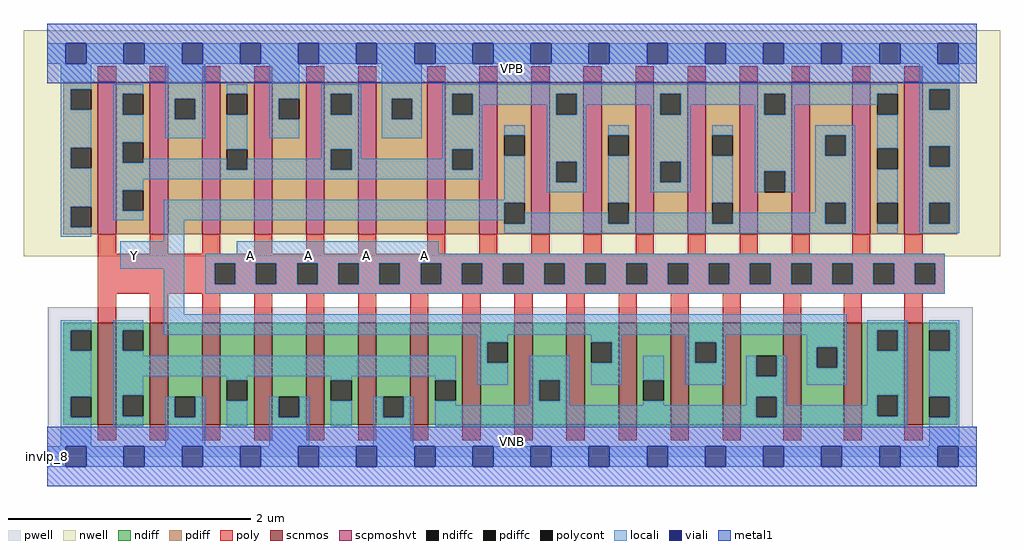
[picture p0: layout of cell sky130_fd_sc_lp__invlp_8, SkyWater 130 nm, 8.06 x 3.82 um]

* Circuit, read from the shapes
.subckt sky130_fd_sc_lp__invlp_8 A VGND VNB VPB VPWR Y
XM1 n1 A VGND VNB sky130_fd_pr__nfet_01v8 w=0.84 l=0.15 m=8
XM2 Y A n1 VNB sky130_fd_pr__nfet_01v8 w=0.84 l=0.15 m=8
XM3 n2 A VPWR VPB sky130_fd_pr__pfet_01v8_hvt w=1.26 l=0.15 m=8
XM4 Y A n2 VPB sky130_fd_pr__pfet_01v8_hvt w=1.26 l=0.15 m=8
.ends

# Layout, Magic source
magic
tech sky130A
magscale 1 2
<< nwell >>
rect -38 331 1574 704
<< pwell >>
rect 1 49 1529 247
rect 0 0 1536 49
<< scnmos >>
rect 84 53 114 221
rect 170 53 200 221
rect 256 53 286 221
rect 342 53 372 221
rect 428 53 458 221
rect 514 53 544 221
rect 600 53 630 221
rect 686 53 716 221
rect 772 53 802 221
rect 858 53 888 221
rect 944 53 974 221
rect 1030 53 1060 221
rect 1116 53 1146 221
rect 1216 53 1246 221
rect 1316 53 1346 221
rect 1416 53 1446 221
<< scpmoshvt >>
rect 84 367 114 619
rect 170 367 200 619
rect 256 367 286 619
rect 342 367 372 619
rect 428 367 458 619
rect 514 367 544 619
rect 628 367 658 619
rect 714 367 744 619
rect 800 367 830 619
rect 886 367 916 619
rect 972 367 1002 619
rect 1058 367 1088 619
rect 1144 367 1174 619
rect 1230 367 1260 619
rect 1330 367 1360 619
rect 1416 367 1446 619
<< ndiff >>
rect 27 209 84 221
rect 27 175 39 209
rect 73 175 84 209
rect 27 99 84 175
rect 27 65 39 99
rect 73 65 84 99
rect 27 53 84 65
rect 114 209 170 221
rect 114 175 125 209
rect 159 175 170 209
rect 114 101 170 175
rect 114 67 125 101
rect 159 67 170 101
rect 114 53 170 67
rect 200 99 256 221
rect 200 65 211 99
rect 245 65 256 99
rect 200 53 256 65
rect 286 126 342 221
rect 286 92 297 126
rect 331 92 342 126
rect 286 53 342 92
rect 372 99 428 221
rect 372 65 383 99
rect 417 65 428 99
rect 372 53 428 65
rect 458 126 514 221
rect 458 92 469 126
rect 503 92 514 126
rect 458 53 514 92
rect 544 99 600 221
rect 544 65 555 99
rect 589 65 600 99
rect 544 53 600 65
rect 630 126 686 221
rect 630 92 641 126
rect 675 92 686 126
rect 630 53 686 92
rect 716 189 772 221
rect 716 155 727 189
rect 761 155 772 189
rect 716 53 772 155
rect 802 126 858 221
rect 802 92 813 126
rect 847 92 858 126
rect 802 53 858 92
rect 888 189 944 221
rect 888 155 899 189
rect 933 155 944 189
rect 888 53 944 155
rect 974 126 1030 221
rect 974 92 985 126
rect 1019 92 1030 126
rect 974 53 1030 92
rect 1060 189 1116 221
rect 1060 155 1071 189
rect 1105 155 1116 189
rect 1060 53 1116 155
rect 1146 167 1216 221
rect 1146 133 1171 167
rect 1205 133 1216 167
rect 1146 99 1216 133
rect 1146 65 1171 99
rect 1205 65 1216 99
rect 1146 53 1216 65
rect 1246 181 1316 221
rect 1246 147 1271 181
rect 1305 147 1316 181
rect 1246 53 1316 147
rect 1346 209 1416 221
rect 1346 175 1371 209
rect 1405 175 1416 209
rect 1346 101 1416 175
rect 1346 67 1371 101
rect 1405 67 1416 101
rect 1346 53 1416 67
rect 1446 209 1503 221
rect 1446 175 1457 209
rect 1491 175 1503 209
rect 1446 99 1503 175
rect 1446 65 1457 99
rect 1491 65 1503 99
rect 1446 53 1503 65
<< pdiff >>
rect 27 607 84 619
rect 27 573 39 607
rect 73 573 84 607
rect 27 510 84 573
rect 27 476 39 510
rect 73 476 84 510
rect 27 413 84 476
rect 27 379 39 413
rect 73 379 84 413
rect 27 367 84 379
rect 114 599 170 619
rect 114 565 125 599
rect 159 565 170 599
rect 114 519 170 565
rect 114 485 125 519
rect 159 485 170 519
rect 114 440 170 485
rect 114 406 125 440
rect 159 406 170 440
rect 114 367 170 406
rect 200 591 256 619
rect 200 557 211 591
rect 245 557 256 591
rect 200 367 256 557
rect 286 599 342 619
rect 286 565 297 599
rect 331 565 342 599
rect 286 508 342 565
rect 286 474 297 508
rect 331 474 342 508
rect 286 367 342 474
rect 372 591 428 619
rect 372 557 383 591
rect 417 557 428 591
rect 372 367 428 557
rect 458 599 514 619
rect 458 565 469 599
rect 503 565 514 599
rect 458 508 514 565
rect 458 474 469 508
rect 503 474 514 508
rect 458 367 514 474
rect 544 591 628 619
rect 544 557 569 591
rect 603 557 628 591
rect 544 367 628 557
rect 658 599 714 619
rect 658 565 669 599
rect 703 565 714 599
rect 658 508 714 565
rect 658 474 669 508
rect 703 474 714 508
rect 658 367 714 474
rect 744 531 800 619
rect 744 497 755 531
rect 789 497 800 531
rect 744 419 800 497
rect 744 385 755 419
rect 789 385 800 419
rect 744 367 800 385
rect 830 599 886 619
rect 830 565 841 599
rect 875 565 886 599
rect 830 487 886 565
rect 830 453 841 487
rect 875 453 886 487
rect 830 367 886 453
rect 916 531 972 619
rect 916 497 927 531
rect 961 497 972 531
rect 916 419 972 497
rect 916 385 927 419
rect 961 385 972 419
rect 916 367 972 385
rect 1002 599 1058 619
rect 1002 565 1013 599
rect 1047 565 1058 599
rect 1002 487 1058 565
rect 1002 453 1013 487
rect 1047 453 1058 487
rect 1002 367 1058 453
rect 1088 531 1144 619
rect 1088 497 1099 531
rect 1133 497 1144 531
rect 1088 419 1144 497
rect 1088 385 1099 419
rect 1133 385 1144 419
rect 1088 367 1144 385
rect 1174 599 1230 619
rect 1174 565 1185 599
rect 1219 565 1230 599
rect 1174 471 1230 565
rect 1174 437 1185 471
rect 1219 437 1230 471
rect 1174 367 1230 437
rect 1260 531 1330 619
rect 1260 497 1285 531
rect 1319 497 1330 531
rect 1260 419 1330 497
rect 1260 385 1285 419
rect 1319 385 1330 419
rect 1260 367 1330 385
rect 1360 599 1416 619
rect 1360 565 1371 599
rect 1405 565 1416 599
rect 1360 509 1416 565
rect 1360 475 1371 509
rect 1405 475 1416 509
rect 1360 419 1416 475
rect 1360 385 1371 419
rect 1405 385 1416 419
rect 1360 367 1416 385
rect 1446 607 1503 619
rect 1446 573 1457 607
rect 1491 573 1503 607
rect 1446 513 1503 573
rect 1446 479 1457 513
rect 1491 479 1503 513
rect 1446 419 1503 479
rect 1446 385 1457 419
rect 1491 385 1503 419
rect 1446 367 1503 385
<< ndiffc >>
rect 39 175 73 209
rect 39 65 73 99
rect 125 175 159 209
rect 125 67 159 101
rect 211 65 245 99
rect 297 92 331 126
rect 383 65 417 99
rect 469 92 503 126
rect 555 65 589 99
rect 641 92 675 126
rect 727 155 761 189
rect 813 92 847 126
rect 899 155 933 189
rect 985 92 1019 126
rect 1071 155 1105 189
rect 1171 133 1205 167
rect 1171 65 1205 99
rect 1271 147 1305 181
rect 1371 175 1405 209
rect 1371 67 1405 101
rect 1457 175 1491 209
rect 1457 65 1491 99
<< pdiffc >>
rect 39 573 73 607
rect 39 476 73 510
rect 39 379 73 413
rect 125 565 159 599
rect 125 485 159 519
rect 125 406 159 440
rect 211 557 245 591
rect 297 565 331 599
rect 297 474 331 508
rect 383 557 417 591
rect 469 565 503 599
rect 469 474 503 508
rect 569 557 603 591
rect 669 565 703 599
rect 669 474 703 508
rect 755 497 789 531
rect 755 385 789 419
rect 841 565 875 599
rect 841 453 875 487
rect 927 497 961 531
rect 927 385 961 419
rect 1013 565 1047 599
rect 1013 453 1047 487
rect 1099 497 1133 531
rect 1099 385 1133 419
rect 1185 565 1219 599
rect 1185 437 1219 471
rect 1285 497 1319 531
rect 1285 385 1319 419
rect 1371 565 1405 599
rect 1371 475 1405 509
rect 1371 385 1405 419
rect 1457 573 1491 607
rect 1457 479 1491 513
rect 1457 385 1491 419
<< poly >>
rect 84 619 114 645
rect 170 619 200 645
rect 256 619 286 645
rect 342 619 372 645
rect 428 619 458 645
rect 514 619 544 645
rect 628 619 658 645
rect 714 619 744 645
rect 800 619 830 645
rect 886 619 916 645
rect 972 619 1002 645
rect 1058 619 1088 645
rect 1144 619 1174 645
rect 1230 619 1260 645
rect 1330 619 1360 645
rect 1416 619 1446 645
rect 84 335 114 367
rect 170 335 200 367
rect 256 335 286 367
rect 342 335 372 367
rect 428 335 458 367
rect 514 335 544 367
rect 628 335 658 367
rect 714 335 744 367
rect 800 335 830 367
rect 886 335 916 367
rect 972 335 1002 367
rect 1058 335 1088 367
rect 1144 335 1174 367
rect 1230 335 1260 367
rect 1330 335 1360 367
rect 1416 335 1446 367
rect 84 319 1483 335
rect 84 285 277 319
rect 311 285 345 319
rect 379 285 413 319
rect 447 285 481 319
rect 515 285 549 319
rect 583 285 617 319
rect 651 285 685 319
rect 719 285 753 319
rect 787 285 821 319
rect 855 285 889 319
rect 923 285 957 319
rect 991 285 1025 319
rect 1059 285 1093 319
rect 1127 285 1161 319
rect 1195 285 1229 319
rect 1263 285 1297 319
rect 1331 285 1365 319
rect 1399 285 1433 319
rect 1467 285 1483 319
rect 84 269 1483 285
rect 84 221 114 269
rect 170 221 200 269
rect 256 221 286 269
rect 342 221 372 269
rect 428 221 458 269
rect 514 221 544 269
rect 600 221 630 269
rect 686 221 716 269
rect 772 221 802 269
rect 858 221 888 269
rect 944 221 974 269
rect 1030 221 1060 269
rect 1116 221 1146 269
rect 1216 221 1246 269
rect 1316 221 1346 269
rect 1416 221 1446 269
rect 84 27 114 53
rect 170 27 200 53
rect 256 27 286 53
rect 342 27 372 53
rect 428 27 458 53
rect 514 27 544 53
rect 600 27 630 53
rect 686 27 716 53
rect 772 27 802 53
rect 858 27 888 53
rect 944 27 974 53
rect 1030 27 1060 53
rect 1116 27 1146 53
rect 1216 27 1246 53
rect 1316 27 1346 53
rect 1416 27 1446 53
<< polycont >>
rect 277 285 311 319
rect 345 285 379 319
rect 413 285 447 319
rect 481 285 515 319
rect 549 285 583 319
rect 617 285 651 319
rect 685 285 719 319
rect 753 285 787 319
rect 821 285 855 319
rect 889 285 923 319
rect 957 285 991 319
rect 1025 285 1059 319
rect 1093 285 1127 319
rect 1161 285 1195 319
rect 1229 285 1263 319
rect 1297 285 1331 319
rect 1365 285 1399 319
rect 1433 285 1467 319
<< locali >>
rect 0 649 31 683
rect 65 649 127 683
rect 161 649 223 683
rect 257 649 319 683
rect 353 649 415 683
rect 449 649 511 683
rect 545 649 607 683
rect 641 649 703 683
rect 737 649 799 683
rect 833 649 895 683
rect 929 649 991 683
rect 1025 649 1087 683
rect 1121 649 1183 683
rect 1217 649 1279 683
rect 1313 649 1375 683
rect 1409 649 1471 683
rect 1505 649 1536 683
rect 23 607 73 649
rect 23 573 39 607
rect 23 510 73 573
rect 23 476 39 510
rect 23 413 73 476
rect 23 379 39 413
rect 109 599 159 615
rect 109 565 125 599
rect 109 519 159 565
rect 195 591 261 649
rect 195 557 211 591
rect 245 557 261 591
rect 195 526 261 557
rect 297 599 331 615
rect 109 485 125 519
rect 297 508 331 565
rect 367 591 417 649
rect 367 557 383 591
rect 367 526 417 557
rect 453 599 519 615
rect 453 565 469 599
rect 503 565 519 599
rect 159 485 297 492
rect 109 474 297 485
rect 453 508 519 565
rect 553 591 619 649
rect 553 557 569 591
rect 603 557 619 591
rect 553 526 619 557
rect 653 599 1405 615
rect 653 565 669 599
rect 703 581 841 599
rect 703 565 719 581
rect 453 492 469 508
rect 331 474 469 492
rect 503 492 519 508
rect 653 508 719 565
rect 825 565 841 581
rect 875 581 1013 599
rect 875 565 891 581
rect 653 492 669 508
rect 503 474 669 492
rect 703 474 719 508
rect 109 458 719 474
rect 755 531 789 547
rect 109 440 159 458
rect 109 406 125 440
rect 755 424 789 497
rect 825 487 891 565
rect 997 565 1013 581
rect 1047 581 1185 599
rect 1047 565 1063 581
rect 825 453 841 487
rect 875 453 891 487
rect 825 437 891 453
rect 927 531 961 547
rect 109 390 159 406
rect 193 419 789 424
rect 193 390 755 419
rect 23 363 73 379
rect 193 356 227 390
rect 927 419 961 497
rect 997 487 1063 565
rect 1169 565 1185 581
rect 1219 581 1371 599
rect 1219 565 1235 581
rect 997 453 1013 487
rect 1047 453 1063 487
rect 997 437 1063 453
rect 1099 531 1133 547
rect 789 385 927 403
rect 1099 419 1133 497
rect 1169 471 1235 565
rect 1169 437 1185 471
rect 1219 437 1235 471
rect 1269 531 1335 547
rect 1269 497 1285 531
rect 1319 497 1335 531
rect 961 385 1099 403
rect 1269 419 1335 497
rect 1269 403 1285 419
rect 1133 385 1285 403
rect 1319 385 1335 419
rect 755 369 1335 385
rect 1371 509 1405 565
rect 1371 419 1405 475
rect 1371 369 1405 385
rect 1441 607 1507 649
rect 1441 573 1457 607
rect 1491 573 1507 607
rect 1441 513 1507 573
rect 1441 479 1457 513
rect 1491 479 1507 513
rect 1441 419 1507 479
rect 1441 385 1457 419
rect 1491 385 1507 419
rect 1441 369 1507 385
rect 121 310 227 356
rect 313 335 647 356
rect 193 235 227 310
rect 261 319 1483 335
rect 261 285 277 319
rect 311 285 345 319
rect 379 285 413 319
rect 447 285 481 319
rect 515 285 549 319
rect 583 285 617 319
rect 651 285 685 319
rect 719 285 753 319
rect 787 285 821 319
rect 855 285 889 319
rect 923 285 957 319
rect 991 285 1025 319
rect 1059 285 1093 319
rect 1127 285 1161 319
rect 1195 285 1229 319
rect 1263 285 1297 319
rect 1331 285 1365 319
rect 1399 285 1433 319
rect 1467 285 1483 319
rect 261 269 1483 285
rect 23 209 73 225
rect 23 175 39 209
rect 23 99 73 175
rect 23 65 39 99
rect 23 17 73 65
rect 109 209 159 225
rect 109 175 125 209
rect 193 201 1321 235
rect 109 167 159 175
rect 711 189 761 201
rect 109 133 675 167
rect 109 101 159 133
rect 109 67 125 101
rect 297 126 331 133
rect 109 51 159 67
rect 195 65 211 99
rect 245 65 261 99
rect 195 17 261 65
rect 469 126 503 133
rect 297 51 331 92
rect 367 65 383 99
rect 417 65 433 99
rect 367 17 433 65
rect 641 126 675 133
rect 469 51 503 92
rect 539 65 555 99
rect 589 65 605 99
rect 539 17 605 65
rect 711 155 727 189
rect 899 189 949 201
rect 711 119 761 155
rect 797 126 863 167
rect 641 85 675 92
rect 797 92 813 126
rect 847 92 863 126
rect 933 155 949 189
rect 1055 189 1121 201
rect 899 119 949 155
rect 985 126 1019 167
rect 797 85 863 92
rect 1055 155 1071 189
rect 1105 155 1121 189
rect 1255 181 1321 201
rect 1055 119 1121 155
rect 1155 133 1171 167
rect 1205 133 1221 167
rect 985 85 1019 92
rect 1155 99 1221 133
rect 1255 147 1271 181
rect 1305 147 1321 181
rect 1255 119 1321 147
rect 1355 209 1421 225
rect 1355 175 1371 209
rect 1405 175 1421 209
rect 1155 85 1171 99
rect 641 65 1171 85
rect 1205 85 1221 99
rect 1355 101 1421 175
rect 1355 85 1371 101
rect 1205 67 1371 85
rect 1405 67 1421 101
rect 1205 65 1421 67
rect 641 51 1421 65
rect 1457 209 1507 225
rect 1491 175 1507 209
rect 1457 99 1507 175
rect 1491 65 1507 99
rect 1457 17 1507 65
rect 0 -17 31 17
rect 65 -17 127 17
rect 161 -17 223 17
rect 257 -17 319 17
rect 353 -17 415 17
rect 449 -17 511 17
rect 545 -17 607 17
rect 641 -17 703 17
rect 737 -17 799 17
rect 833 -17 895 17
rect 929 -17 991 17
rect 1025 -17 1087 17
rect 1121 -17 1183 17
rect 1217 -17 1279 17
rect 1313 -17 1375 17
rect 1409 -17 1471 17
rect 1505 -17 1536 17
<< viali >>
rect 31 649 65 683
rect 127 649 161 683
rect 223 649 257 683
rect 319 649 353 683
rect 415 649 449 683
rect 511 649 545 683
rect 607 649 641 683
rect 703 649 737 683
rect 799 649 833 683
rect 895 649 929 683
rect 991 649 1025 683
rect 1087 649 1121 683
rect 1183 649 1217 683
rect 1279 649 1313 683
rect 1375 649 1409 683
rect 1471 649 1505 683
rect 31 -17 65 17
rect 127 -17 161 17
rect 223 -17 257 17
rect 319 -17 353 17
rect 415 -17 449 17
rect 511 -17 545 17
rect 607 -17 641 17
rect 703 -17 737 17
rect 799 -17 833 17
rect 895 -17 929 17
rect 991 -17 1025 17
rect 1087 -17 1121 17
rect 1183 -17 1217 17
rect 1279 -17 1313 17
rect 1375 -17 1409 17
rect 1471 -17 1505 17
<< metal1 >>
rect 0 683 1536 715
rect 0 649 31 683
rect 65 649 127 683
rect 161 649 223 683
rect 257 649 319 683
rect 353 649 415 683
rect 449 649 511 683
rect 545 649 607 683
rect 641 649 703 683
rect 737 649 799 683
rect 833 649 895 683
rect 929 649 991 683
rect 1025 649 1087 683
rect 1121 649 1183 683
rect 1217 649 1279 683
rect 1313 649 1375 683
rect 1409 649 1471 683
rect 1505 649 1536 683
rect 0 617 1536 649
rect 0 17 1536 49
rect 0 -17 31 17
rect 65 -17 127 17
rect 161 -17 223 17
rect 257 -17 319 17
rect 353 -17 415 17
rect 449 -17 511 17
rect 545 -17 607 17
rect 641 -17 703 17
rect 737 -17 799 17
rect 833 -17 895 17
rect 929 -17 991 17
rect 1025 -17 1087 17
rect 1121 -17 1183 17
rect 1217 -17 1279 17
rect 1313 -17 1375 17
rect 1409 -17 1471 17
rect 1505 -17 1536 17
rect 0 -49 1536 -17
<< labels >>
flabel pwell s 0 0 1536 49 0 FreeSans 200 0 0 0 VNB
port 3 nsew ground bidirectional
flabel nwell s 0 617 1536 666 0 FreeSans 200 0 0 0 VPB
port 4 nsew power bidirectional
rlabel comment s 0 0 0 0 4 invlp_8
flabel metal1 s 0 617 1536 666 0 FreeSans 340 0 0 0 VPWR
port 5 nsew power bidirectional
flabel metal1 s 0 0 1536 49 0 FreeSans 340 0 0 0 VGND
port 2 nsew ground bidirectional
flabel locali s 319 316 353 350 0 FreeSans 340 0 0 0 A
port 1 nsew signal input
flabel locali s 415 316 449 350 0 FreeSans 340 0 0 0 A
port 1 nsew signal input
flabel locali s 511 316 545 350 0 FreeSans 340 0 0 0 A
port 1 nsew signal input
flabel locali s 607 316 641 350 0 FreeSans 340 0 0 0 A
port 1 nsew signal input
flabel locali s 127 316 161 350 0 FreeSans 340 0 0 0 Y
port 6 nsew signal output
<< properties >>
string LEFsite unit
string LEFclass CORE
string FIXED_BBOX 0 0 1536 666
string GDS_FILE $PDKPATH/libs.ref/sky130_fd_sc_lp/gds/sky130_fd_sc_lp.gds
string LEFsymmetry X Y R90
string GDS_END 6835994
string GDS_START 6824630
<< end >>
